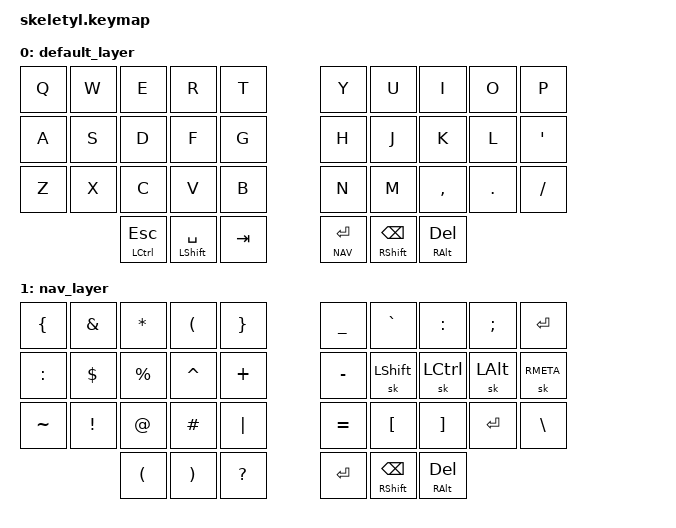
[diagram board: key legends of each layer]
#include <behaviors.dtsi>
#include <dt-bindings/zmk/keys.h>

#define DEFAULT 0
#define NAV     1


/ {
    behaviours {
	gqt: global-quick-tap {
	    compatible = "zmk,behavior-hold-tap";
	    label = "GLOBAL_QUICK_TAP";
	    #binding-cells = <2>;
	    flavor = "tap-preferred";
	    tapping-term-ms = <200>;
	    quick-tap-ms = <0>;
	    global-quick-tap;
	    bindings = <&kp>, <&kp>;
	};
    };


    keymap {
	    compatible = "zmk,keymap";

	    default_layer {
	    	bindings = <
		   &kp Q        &kp W	         &kp E	           &kp R       &kp T	        &kp Y	         &kp U	        &kp I	     &kp O       &kp P 
		   &kp A        &kp S	         &kp D	           &kp F       &kp G	        &kp H	         &kp J	        &kp K	     &kp L       &kp SQT
		   &kp Z        &kp X	         &kp C	           &kp V       &kp B	        &kp N	         &kp M	        &kp COMMA    &kp DOT     &kp FSLH 
		        	&gqt LCTRL ESC	 &gqt LSHFT SPACE  &kp TAB     &gqt NAV ENTER	&gqt RSHFT BSPC  &gqt RALT DEL
		>;
	    };
	      

	    nav_layer {
	    	bindings = <
		   &kp LBRC	&kp AMPS	  &kp ASTRK	    &kp LPAR	&kp RBRC	&kp UNDER       &kp GRAVE       &kp COLON   &kp SEMI    &kp ENTER     
		   &kp COLON    &kp DOLLAR        &kp PERCENT       &kp CARET   &kp PLUS	&kp MINUS       &sk LSHFT       &sk LCTRL   &sk LALT    &sk RMETA
		   &kp TILDE    &kp EXCL	  &kp AT            &kp HASH	&kp PIPE	&kp EQUAL       &kp LBKT        &kp RBKT    &kp ENTER   &kp BSLH
		        	&kp LPAR	  &kp RPAR          &kp QMARK   &kp ENTER	&mt RSHFT BSPC  &mt RALT DEL

		>;
	    };
    };
};

